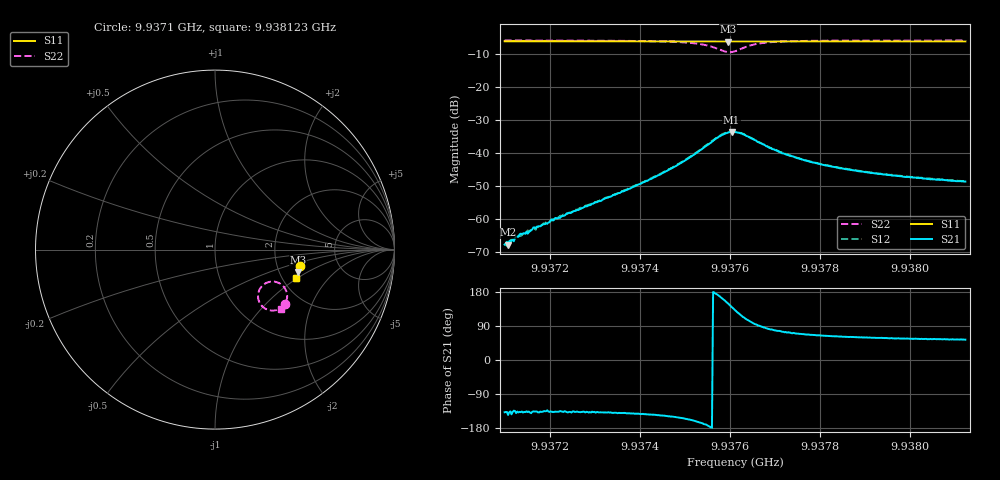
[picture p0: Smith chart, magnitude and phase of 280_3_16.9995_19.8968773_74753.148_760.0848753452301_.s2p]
#  HZ  S  RI  R  50.00
! Rohde & Schwarz Vector Network Analyzer
! Rohde-Schwarz,ZNB20-2Port,1311601062101988,3.16
! Created: UTC 3/20/2024, 11:04:40 PM
! freq[Hz]  re:S11  im:S11  re:S21  im:S21  re:S12  im:S12  re:S22  im:S22
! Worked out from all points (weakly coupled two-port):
!   401 points, 9.9371 GHz to 9.938123 GHz, reference 50 ohm
!   highest |S21| = -33.63 dB at 9.937604 GHz (marker M1); lowest = -67.7 dB at 9.937108 GHz (marker M2)
!   lowest |S11| = -6.4 dB at 9.937596 GHz (marker M3), VSWR 2.84, Z = 126 - j41.4 ohm
!   |S11| at or under -10 dB: nowhere
!   |S22| runs from -9.6 to -6.1 dB; largest |S21 - S12| = 0.00095
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9.9371e9  0.4749 -0.0941  -0.000308 -0.000278  -0.000309 -0.000277  0.3927 -0.3054
9.9371077e9  0.4749 -0.0947  -0.000339 -0.000238  -0.000351 -0.000292  0.3922 -0.306
9.9371384e9  0.4743 -0.0967  -0.00043 -0.000414  -0.000434 -0.000381  0.3899 -0.3082
9.9371461e9  0.4742 -0.0972  -0.000446 -0.000408  -0.000491 -0.000432  0.389 -0.3088
9.9371691e9  0.4737 -0.0989  -0.000528 -0.000513  -0.000499 -0.000488  0.3876 -0.3105
9.9371921e9  0.4733 -0.1004  -0.000619 -0.000613  -0.000664 -0.000608  0.3855 -0.3123
9.9372714e9  0.4719 -0.1057  -0.00107 -0.001  -0.0011 -0.00101  0.378 -0.3189
9.9373533e9  0.4702 -0.1112  -0.00189 -0.00161  -0.00191 -0.0016  0.3666 -0.3266
9.9374429e9  0.4681 -0.1173  -0.00383 -0.00264  -0.00398 -0.00263  0.3454 -0.3365
9.9374941e9  0.4667 -0.1208  -0.00647 -0.00326  -0.00662 -0.00321  0.3212 -0.34
9.9375427e9  0.4651 -0.1241  -0.0119 -0.00227  -0.0121 -0.00221  0.2771 -0.3273
9.9375708e9  0.4638 -0.1255  -0.0166 0.00172  -0.0168 0.00229  0.2448 -0.2875
9.9375964e9  0.4628 -0.1262  -0.0175 0.0104  -0.0174 0.0113  0.251 -0.2174
9.9376041e9  0.4629 -0.1263  -0.016 0.0133  -0.0157 0.014  0.2672 -0.1982
9.9376118e9  0.463 -0.1266  -0.0137 0.0155  -0.0135 0.0161  0.2876 -0.1848
9.9376297e9  0.4632 -0.1273  -0.00756 0.0176  -0.00732 0.018  0.338 -0.1798
9.9376655e9  0.4634 -0.1297  -9.21e-05 0.0144  0.000212 0.0145  0.3908 -0.2184
9.9377192e9  0.4626 -0.1337  0.00265 0.00953  0.0028 0.00955  0.4019 -0.2635
9.9377832e9  0.4612 -0.1383  0.00294 0.00661  0.00306 0.00666  0.3966 -0.2892
9.9378702e9  0.4592 -0.1441  0.00272 0.00484  0.00281 0.00482  0.3883 -0.3075
9.9379546e9  0.457 -0.1498  0.00252 0.0039  0.00256 0.00391  0.3807 -0.3184
9.9381235e9  0.4527 -0.1606  0.0022 0.00299  0.00227 0.003  0.3687 -0.3327
